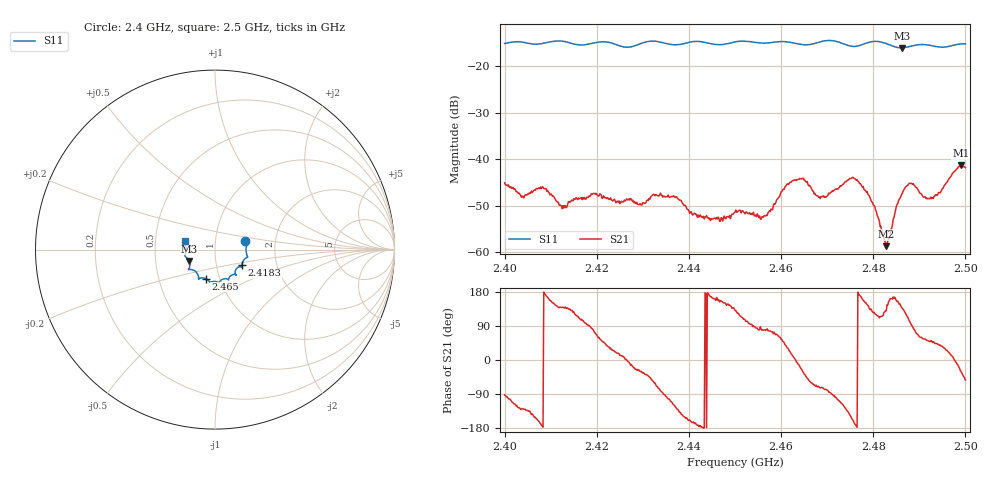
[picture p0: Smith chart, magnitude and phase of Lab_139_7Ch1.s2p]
# Hz S RI R 50
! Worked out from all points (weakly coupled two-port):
!   601 points, 2.4 GHz to 2.5 GHz, reference 50 ohm
!   highest |S21| = -41.31 dB at 2.499 GHz (marker M1); lowest = -58.7 dB at 2.4828 GHz (marker M2)
!   lowest |S11| = -16.1 dB at 2.4862 GHz (marker M3), VSWR 1.37, Z = 37.1 - j4.79 ohm
!   |S11| at or under -10 dB: start of sweep to end of sweep
!   S12 and S22 are empty: the file has one direction only
!   S11 on the Smith chart (normalised r, x): 2.4 GHz: 1.40, +0.13; 2.4183 GHz: 1.33, -0.24; 2.465 GHz: 0.86, -0.29; 2.5 GHz: 0.71, +0.07
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2.4e9  0.1693 0.0458  -0.00021 -0.00557  0 0  0 0
2.403833e9  0.1792 0.0284  -0.00248 -0.00317  0 0  0 0
2.4085e9  0.1754 -0.022  -0.00485 5.59e-05  0 0  0 0
2.413e9  0.1789 -0.0437  -0.00232 0.00218  0 0  0 0
2.416667e9  0.1547 -0.068  -0.00117 0.00369  0 0  0 0
2.418333e9  0.1499 -0.0869  -4.21e-05 0.00402  0 0  0 0
2.433333e9  0.1175 -0.141  0.00111 -0.00389  0 0  0 0
2.444667e9  0.0645 -0.1626  -0.00213 0.00049  0 0  0 0
2.45e9  0.0249 -0.1808  -0.00177 0.00203  0 0  0 0
2.456e9  -0.000491 -0.177  0.000413 0.00237  0 0  0 0
2.465e9  -0.0525 -0.1617  0.0048 -0.00355  0 0  0 0
2.466667e9  -0.0714 -0.1572  0.00235 -0.00414  0 0  0 0
2.4695e9  -0.0913 -0.1636  0.000861 -0.00388  0 0  0 0
2.476e9  -0.11 -0.1201  -0.00604 -0.00117  0 0  0 0
2.479833e9  -0.1468 -0.1108  -0.00206 0.00273  0 0  0 0
2.482833e9  -0.1428 -0.101  -0.000742 0.000894  0 0  0 0
2.483333e9  -0.1416 -0.0965  -0.00124 0.000612  0 0  0 0
2.486167e9  -0.1441 -0.0629  -0.00314 0.00281  0 0  0 0
2.488167e9  -0.1579 -0.0452  -0.000567 0.0055  0 0  0 0
2.492833e9  -0.1642 -0.0214  0.00266 0.00279  0 0  0 0
2.499e9  -0.1683 0.0424  0.00751 -0.0042  0 0  0 0
2.5e9  -0.1673 0.0471  0.00489 -0.00645  0 0  0 0
